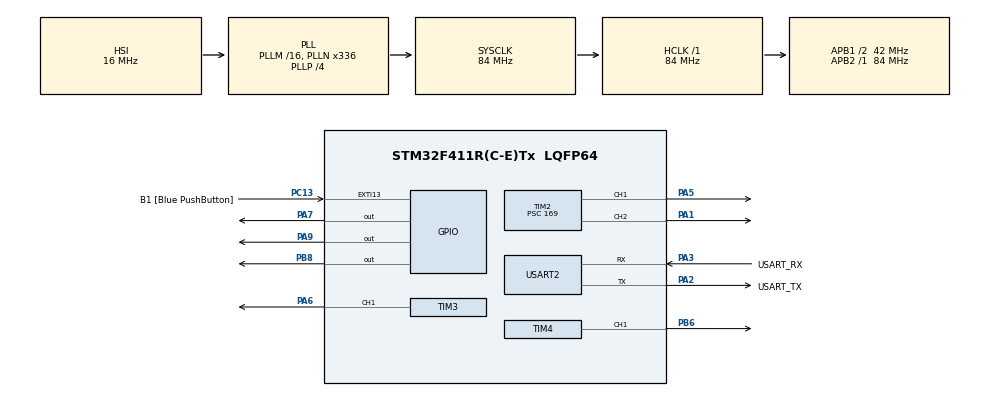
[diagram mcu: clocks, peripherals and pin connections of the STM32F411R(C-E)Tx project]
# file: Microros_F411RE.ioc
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Dma.Request0=USART2_RX
Dma.Request1=USART2_TX
Dma.USART2_RX.0.Direction=DMA_PERIPH_TO_MEMORY
Dma.USART2_RX.0.FIFOMode=DMA_FIFOMODE_DISABLE
Dma.USART2_RX.0.Instance=DMA1_Stream5
Dma.USART2_RX.0.MemDataAlignment=DMA_MDATAALIGN_BYTE
Dma.USART2_RX.0.MemInc=DMA_MINC_ENABLE
Dma.USART2_RX.0.Mode=DMA_CIRCULAR
Dma.USART2_RX.0.PeriphDataAlignment=DMA_PDATAALIGN_BYTE
Dma.USART2_RX.0.PeriphInc=DMA_PINC_DISABLE
Dma.USART2_RX.0.Priority=DMA_PRIORITY_VERY_HIGH
Dma.USART2_TX.1.Direction=DMA_MEMORY_TO_PERIPH
Dma.USART2_TX.1.FIFOMode=DMA_FIFOMODE_DISABLE
Dma.USART2_TX.1.Instance=DMA1_Stream6
Dma.USART2_TX.1.MemDataAlignment=DMA_MDATAALIGN_BYTE
Dma.USART2_TX.1.MemInc=DMA_MINC_ENABLE
Dma.USART2_TX.1.Mode=DMA_NORMAL
Dma.USART2_TX.1.PeriphDataAlignment=DMA_PDATAALIGN_BYTE
Dma.USART2_TX.1.PeriphInc=DMA_PINC_DISABLE
Dma.USART2_TX.1.Priority=DMA_PRIORITY_VERY_HIGH
FREERTOS.Tasks01=defaultTask,24,3000,StartDefaultTask,Default,NULL,Dynamic,NULL,NULL
Mcu.Family=STM32F4
Mcu.Name=STM32F411R(C-E)Tx
Mcu.Package=LQFP64
NVIC.DMA1_Stream5_IRQn=true\:5\:0\:false\:false\:true\:true\:false\:true\:true
NVIC.DMA1_Stream6_IRQn=true\:5\:0\:false\:false\:true\:true\:false\:true\:true
NVIC.PriorityGroup=NVIC_PRIORITYGROUP_4
NVIC.TIM1_UP_TIM10_IRQn=true\:0\:0\:false\:false\:true\:false\:false\:true\:true
NVIC.TimeBase=TIM1_UP_TIM10_IRQn
NVIC.TimeBaseIP=TIM1
NVIC.USART2_IRQn=true\:5\:0\:false\:false\:true\:true\:true\:true\:true
PA1.Signal=S_TIM2_CH2
PA13.GPIO_Label=TMS
PA13.Mode=Serial_Wire
PA13.Signal=SYS_JTMS-SWDIO
PA14.GPIO_Label=TCK
PA14.Mode=Serial_Wire
PA14.Signal=SYS_JTCK-SWCLK
PA2.GPIO_Label=USART_TX
PA2.Mode=Asynchronous
PA2.Signal=USART2_TX
PA3.GPIO_Label=USART_RX
PA3.Mode=Asynchronous
PA3.Signal=USART2_RX
PA5.Signal=S_TIM2_CH1_ETR
PA6.Signal=S_TIM3_CH1
PA7.Signal=GPIO_Output
PA9.Signal=GPIO_Output
PB3.GPIO_Label=SWO
PB3.Signal=SYS_JTDO-SWO
PB6.Signal=S_TIM4_CH1
PB8.Signal=GPIO_Output
PC13-ANTI_TAMP.GPIO_Label=B1 [Blue PushButton]
PC13-ANTI_TAMP.GPIO_ModeDefaultEXTI=GPIO_MODE_IT_FALLING
PC13-ANTI_TAMP.Signal=GPXTI13
PC14-OSC32_IN.Mode=LSE-External-Oscillator
PC14-OSC32_IN.Signal=RCC_OSC32_IN
PC15-OSC32_OUT.Mode=LSE-External-Oscillator
PC15-OSC32_OUT.Signal=RCC_OSC32_OUT
PH0\ -\ OSC_IN.Mode=HSE-External-Oscillator
PH0\ -\ OSC_IN.Signal=RCC_OSC_IN
PH1\ -\ OSC_OUT.Mode=HSE-External-Oscillator
PH1\ -\ OSC_OUT.Signal=RCC_OSC_OUT
ProjectManager.HeapSize=0x200
ProjectManager.StackSize=0x400
ProjectManager.TargetToolchain=STM32CubeIDE
RCC.48MHZClocksFreq_Value=84000000
RCC.AHBFreq_Value=84000000
RCC.APB1CLKDivider=RCC_HCLK_DIV2
RCC.APB1Freq_Value=42000000
RCC.APB1TimFreq_Value=84000000
RCC.APB2Freq_Value=84000000
RCC.APB2TimFreq_Value=84000000
RCC.CortexFreq_Value=84000000
RCC.FLatency-AdvancedSettings=FLASH_LATENCY_2
RCC.HCLKFreq_Value=84000000
RCC.HSE_VALUE=8000000
RCC.HSI_VALUE=16000000
RCC.PLLN=336
RCC.PLLP=RCC_PLLP_DIV4
RCC.SYSCLKFreq_VALUE=84000000
RCC.SYSCLKSource=RCC_SYSCLKSOURCE_PLLCLK
RCC.VCOOutputFreq_Value=336000000
SH.S_TIM2_CH1_ETR.0=TIM2_CH1,PWM Generation1 CH1
SH.S_TIM2_CH2.0=TIM2_CH2,PWM Generation2 CH2
SH.S_TIM3_CH1.0=TIM3_CH1,PWM Generation1 CH1
SH.S_TIM4_CH1.0=TIM4_CH1,PWM Generation1 CH1
TIM2.Channel-PWM\ Generation1\ CH1=TIM_CHANNEL_1
TIM2.Channel-PWM\ Generation2\ CH2=TIM_CHANNEL_2
TIM2.Period=999
TIM2.Prescaler=169
TIM2.Pulse-PWM\ Generation1\ CH1=0
TIM3.Channel-PWM\ Generation1\ CH1=TIM_CHANNEL_1
TIM3.Period=999
TIM3.Prescaler=169
TIM4.Channel-PWM\ Generation1\ CH1=TIM_CHANNEL_1
TIM4.Period=19999
TIM4.Prescaler=169
USART2.VirtualMode=VM_ASYNC
VP_FREERTOS_VS_CMSIS_V2.Mode=CMSIS_V2
VP_SYS_VS_tim1.Mode=TIM1
VP_TIM2_VS_ClockSourceINT.Mode=Internal
VP_TIM3_VS_ClockSourceINT.Mode=Internal
VP_TIM4_VS_ClockSourceINT.Mode=Internal
board=NUCLEO-F411RE

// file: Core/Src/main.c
/* USER CODE BEGIN Header */
/**
  ******************************************************************************
  * @file           : main.c
  * @brief          : Main program body
  ******************************************************************************
  * @attention
  *
  * Copyright (c) 2024 STMicroelectronics.
  * All rights reserved.
  *
  * This software is licensed under terms that can be found in the LICENSE file
  * in the root directory of this software component.
  * If no LICENSE file comes with this software, it is provided AS-IS.
  *
  ******************************************************************************
  */
/* USER CODE END Header */
#include "main.h"
#include "cmsis_os.h"

/* USER CODE BEGIN Includes */
#include <rcl/rcl.h>
#include <rcl/error_handling.h>
#include <rclc/rclc.h>
#include <rclc/executor.h>
#include <uxr/client/transport.h>
#include <rmw_microxrcedds_c/config.h>
#include <rmw_microros/rmw_microros.h>
#include "PWM.h"
#include <std_msgs/msg/int32.h>
#include <std_msgs/msg/float32.h>
#include <stdlib.h>
/* USER CODE END Includes */

TIM_HandleTypeDef htim2;
TIM_HandleTypeDef htim3;
TIM_HandleTypeDef htim4;

UART_HandleTypeDef huart2;
DMA_HandleTypeDef hdma_usart2_rx;
DMA_HandleTypeDef hdma_usart2_tx;

/* Definitions for defaultTask */
osThreadId_t defaultTaskHandle;
const osThreadAttr_t defaultTask_attributes = {
  .name = "defaultTask",
  .stack_size = 3000 * 4,
  .priority = (osPriority_t) osPriorityNormal,
};
/* USER CODE BEGIN PV */
uint16_t FB_Read, LR_Read, BR_Read;
float Speed_L, Speed_R, prev_Speed_L, prev_Speed_R;
int Brush;
int Servo_switch = 600;
int MaxSpeed = 1000;
static float_t i2 = 0.0;
static float_t i3 = 0.0;
uint16_t freq;

PWM StepperL;
PWM StepperR;
PWM BrushMTR;
/* USER CODE END PV */

void SystemClock_Config(void);
static void MX_GPIO_Init(void);
static void MX_DMA_Init(void);
static void MX_USART2_UART_Init(void);
static void MX_TIM2_Init(void);
static void MX_TIM3_Init(void);
static void MX_TIM4_Init(void);
void StartDefaultTask(void *argument);

/* USER CODE BEGIN PFP */
void StpperMotorControlled();
void BrusheMotorControlled();
void ServoControlled();

int mapValue(uint16_t inputValue, int16_t Min, int16_t Max);
void subscription_callback_L(const void * msgin);
void subscription_callback_R(const void * msgin);
void subscription_callback_servo(const void * msgin);
void subscription_callback_Brush(const void * msgin);

/* USER CODE END PFP */

int main(void)
{

  /* MCU Configuration--------------------------------------------------------*/

  /* Reset of all peripherals, Initializes the Flash interface and the Systick. */
  HAL_Init();

  /* Configure the system clock */
  SystemClock_Config();

  /* Initialize all configured peripherals */
  MX_GPIO_Init();
  MX_DMA_Init();
  MX_USART2_UART_Init();
  MX_TIM2_Init();
  MX_TIM3_Init();
  MX_TIM4_Init();
  /* USER CODE BEGIN 2 */
  PWM_init(&StepperL, &htim2, TIM_CHANNEL_1);
  PWM_init(&StepperR, &htim2, TIM_CHANNEL_2);
  PWM_init(&BrushMTR, &htim3, TIM_CHANNEL_1);

  HAL_TIM_PWM_Start(&htim2, TIM_CHANNEL_1);
  HAL_TIM_PWM_Start(&htim2, TIM_CHANNEL_2);
  HAL_TIM_PWM_Start(&htim3, TIM_CHANNEL_1);
  HAL_TIM_Base_Start(&htim4);
  HAL_TIM_PWM_Start(&htim4, TIM_CHANNEL_1);
  /* USER CODE END 2 */

  /* Init scheduler */
  osKernelInitialize();

  /* Create the thread(s) */
  /* creation of defaultTask */
  defaultTaskHandle = osThreadNew(StartDefaultTask, NULL, &defaultTask_attributes);

  /* Start scheduler */
  osKernelStart();

  /* We should never get here as control is now taken by the scheduler */

  /* Infinite loop */
  while (1)
  {

  }
}

void SystemClock_Config(void)
{
  RCC_OscInitTypeDef RCC_OscInitStruct = {0};
  RCC_ClkInitTypeDef RCC_ClkInitStruct = {0};

  /** Configure the main internal regulator output voltage
  */
  __HAL_RCC_PWR_CLK_ENABLE();
  __HAL_PWR_VOLTAGESCALING_CONFIG(PWR_REGULATOR_VOLTAGE_SCALE1);

  /** Initializes the RCC Oscillators according to the specified parameters
  * in the RCC_OscInitTypeDef structure.
  */
  RCC_OscInitStruct.OscillatorType = RCC_OSCILLATORTYPE_HSI;
  RCC_OscInitStruct.HSIState = RCC_HSI_ON;
  RCC_OscInitStruct.HSICalibrationValue = RCC_HSICALIBRATION_DEFAULT;
  RCC_OscInitStruct.PLL.PLLState = RCC_PLL_ON;
  RCC_OscInitStruct.PLL.PLLSource = RCC_PLLSOURCE_HSI;
  RCC_OscInitStruct.PLL.PLLM = 16;
  RCC_OscInitStruct.PLL.PLLN = 336;
  RCC_OscInitStruct.PLL.PLLP = RCC_PLLP_DIV4;
  RCC_OscInitStruct.PLL.PLLQ = 4;
  if (HAL_RCC_OscConfig(&RCC_OscInitStruct) != HAL_OK)
  {
    Error_Handler();
  }

  /** Initializes the CPU, AHB and APB buses clocks
  */
  RCC_ClkInitStruct.ClockType = RCC_CLOCKTYPE_HCLK|RCC_CLOCKTYPE_SYSCLK
                              |RCC_CLOCKTYPE_PCLK1|RCC_CLOCKTYPE_PCLK2;
  RCC_ClkInitStruct.SYSCLKSource = RCC_SYSCLKSOURCE_PLLCLK;
  RCC_ClkInitStruct.AHBCLKDivider = RCC_SYSCLK_DIV1;
  RCC_ClkInitStruct.APB1CLKDivider = RCC_HCLK_DIV2;
  RCC_ClkInitStruct.APB2CLKDivider = RCC_HCLK_DIV1;

  if (HAL_RCC_ClockConfig(&RCC_ClkInitStruct, FLASH_LATENCY_2) != HAL_OK)
  {
    Error_Handler();
  }
}

static void MX_TIM2_Init(void)
{

  TIM_ClockConfigTypeDef sClockSourceConfig = {0};
  TIM_MasterConfigTypeDef sMasterConfig = {0};
  TIM_OC_InitTypeDef sConfigOC = {0};

  htim2.Instance = TIM2;
  htim2.Init.Prescaler = 169;
  htim2.Init.CounterMode = TIM_COUNTERMODE_UP;
  htim2.Init.Period = 999;
  htim2.Init.ClockDivision = TIM_CLOCKDIVISION_DIV1;
  htim2.Init.AutoReloadPreload = TIM_AUTORELOAD_PRELOAD_DISABLE;
  if (HAL_TIM_Base_Init(&htim2) != HAL_OK)
  {
    Error_Handler();
  }
  sClockSourceConfig.ClockSource = TIM_CLOCKSOURCE_INTERNAL;
  if (HAL_TIM_ConfigClockSource(&htim2, &sClockSourceConfig) != HAL_OK)
  {
    Error_Handler();
  }
  if (HAL_TIM_PWM_Init(&htim2) != HAL_OK)
  {
    Error_Handler();
  }
  sMasterConfig.MasterOutputTrigger = TIM_TRGO_RESET;
  sMasterConfig.MasterSlaveMode = TIM_MASTERSLAVEMODE_DISABLE;
  if (HAL_TIMEx_MasterConfigSynchronization(&htim2, &sMasterConfig) != HAL_OK)
  {
    Error_Handler();
  }
  sConfigOC.OCMode = TIM_OCMODE_PWM1;
  sConfigOC.Pulse = 0;
  sConfigOC.OCPolarity = TIM_OCPOLARITY_HIGH;
  sConfigOC.OCFastMode = TIM_OCFAST_DISABLE;
  if (HAL_TIM_PWM_ConfigChannel(&htim2, &sConfigOC, TIM_CHANNEL_1) != HAL_OK)
  {
    Error_Handler();
  }
  if (HAL_TIM_PWM_ConfigChannel(&htim2, &sConfigOC, TIM_CHANNEL_2) != HAL_OK)
  {
    Error_Handler();
  }
  HAL_TIM_MspPostInit(&htim2);

}

static void MX_TIM3_Init(void)
{

  TIM_ClockConfigTypeDef sClockSourceConfig = {0};
  TIM_MasterConfigTypeDef sMasterConfig = {0};
  TIM_OC_InitTypeDef sConfigOC = {0};

  htim3.Instance = TIM3;
  htim3.Init.Prescaler = 169;
  htim3.Init.CounterMode = TIM_COUNTERMODE_UP;
  htim3.Init.Period = 999;
  htim3.Init.ClockDivision = TIM_CLOCKDIVISION_DIV1;
  htim3.Init.AutoReloadPreload = TIM_AUTORELOAD_PRELOAD_DISABLE;
  if (HAL_TIM_Base_Init(&htim3) != HAL_OK)
  {
    Error_Handler();
  }
  sClockSourceConfig.ClockSource = TIM_CLOCKSOURCE_INTERNAL;
  if (HAL_TIM_ConfigClockSource(&htim3, &sClockSourceConfig) != HAL_OK)
  {
    Error_Handler();
  }
  if (HAL_TIM_PWM_Init(&htim3) != HAL_OK)
  {
    Error_Handler();
  }
  sMasterConfig.MasterOutputTrigger = TIM_TRGO_RESET;
  sMasterConfig.MasterSlaveMode = TIM_MASTERSLAVEMODE_DISABLE;
  if (HAL_TIMEx_MasterConfigSynchronization(&htim3, &sMasterConfig) != HAL_OK)
  {
    Error_Handler();
  }
  sConfigOC.OCMode = TIM_OCMODE_PWM1;
  sConfigOC.Pulse = 0;
  sConfigOC.OCPolarity = TIM_OCPOLARITY_HIGH;
  sConfigOC.OCFastMode = TIM_OCFAST_DISABLE;
  if (HAL_TIM_PWM_ConfigChannel(&htim3, &sConfigOC, TIM_CHANNEL_1) != HAL_OK)
  {
    Error_Handler();
  }
  HAL_TIM_MspPostInit(&htim3);

}

static void MX_TIM4_Init(void)
{

  TIM_ClockConfigTypeDef sClockSourceConfig = {0};
  TIM_MasterConfigTypeDef sMasterConfig = {0};
  TIM_OC_InitTypeDef sConfigOC = {0};

  htim4.Instance = TIM4;
  htim4.Init.Prescaler = 169;
  htim4.Init.CounterMode = TIM_COUNTERMODE_UP;
  htim4.Init.Period = 19999;
  htim4.Init.ClockDivision = TIM_CLOCKDIVISION_DIV1;
  htim4.Init.AutoReloadPreload = TIM_AUTORELOAD_PRELOAD_DISABLE;
  if (HAL_TIM_Base_Init(&htim4) != HAL_OK)
  {
    Error_Handler();
  }
  sClockSourceConfig.ClockSource = TIM_CLOCKSOURCE_INTERNAL;
  if (HAL_TIM_ConfigClockSource(&htim4, &sClockSourceConfig) != HAL_OK)
  {
    Error_Handler();
  }
  if (HAL_TIM_PWM_Init(&htim4) != HAL_OK)
  {
    Error_Handler();
  }
  sMasterConfig.MasterOutputTrigger = TIM_TRGO_RESET;
  sMasterConfig.MasterSlaveMode = TIM_MASTERSLAVEMODE_DISABLE;
  if (HAL_TIMEx_MasterConfigSynchronization(&htim4, &sMasterConfig) != HAL_OK)
  {
    Error_Handler();
  }
  sConfigOC.OCMode = TIM_OCMODE_PWM1;
  sConfigOC.Pulse = 0;
  sConfigOC.OCPolarity = TIM_OCPOLARITY_HIGH;
  sConfigOC.OCFastMode = TIM_OCFAST_DISABLE;
  if (HAL_TIM_PWM_ConfigChannel(&htim4, &sConfigOC, TIM_CHANNEL_1) != HAL_OK)
  {
    Error_Handler();
  }
  HAL_TIM_MspPostInit(&htim4);

}

static void MX_USART2_UART_Init(void)
{

  huart2.Instance = USART2;
  huart2.Init.BaudRate = 115200;
  huart2.Init.WordLength = UART_WORDLENGTH_8B;
  huart2.Init.StopBits = UART_STOPBITS_1;
  huart2.Init.Parity = UART_PARITY_NONE;
  huart2.Init.Mode = UART_MODE_TX_RX;
  huart2.Init.HwFlowCtl = UART_HWCONTROL_NONE;
  huart2.Init.OverSampling = UART_OVERSAMPLING_16;
  if (HAL_UART_Init(&huart2) != HAL_OK)
  {
    Error_Handler();
  }

}

static void MX_DMA_Init(void)
{

  /* DMA controller clock enable */
  __HAL_RCC_DMA1_CLK_ENABLE();

  /* DMA interrupt init */
  /* DMA1_Stream5_IRQn interrupt configuration */
  HAL_NVIC_SetPriority(DMA1_Stream5_IRQn, 5, 0);
  HAL_NVIC_EnableIRQ(DMA1_Stream5_IRQn);
  /* DMA1_Stream6_IRQn interrupt configuration */
  HAL_NVIC_SetPriority(DMA1_Stream6_IRQn, 5, 0);
  HAL_NVIC_EnableIRQ(DMA1_Stream6_IRQn);

}

static void MX_GPIO_Init(void)
{
  GPIO_InitTypeDef GPIO_InitStruct = {0};

  /* GPIO Ports Clock Enable */
  __HAL_RCC_GPIOC_CLK_ENABLE();
  __HAL_RCC_GPIOH_CLK_ENABLE();
  __HAL_RCC_GPIOA_CLK_ENABLE();
  __HAL_RCC_GPIOB_CLK_ENABLE();

  /*Configure GPIO pin Output Level */
  HAL_GPIO_WritePin(GPIOA, GPIO_PIN_7|GPIO_PIN_9, GPIO_PIN_RESET);

  /*Configure GPIO pin Output Level */
  HAL_GPIO_WritePin(GPIOB, GPIO_PIN_8, GPIO_PIN_RESET);

  /*Configure GPIO pin : B1_Pin */
  GPIO_InitStruct.Pin = B1_Pin;
  GPIO_InitStruct.Mode = GPIO_MODE_IT_FALLING;
  GPIO_InitStruct.Pull = GPIO_NOPULL;
  HAL_GPIO_Init(B1_GPIO_Port, &GPIO_InitStruct);

  /*Configure GPIO pins : PA7 PA9 */
  GPIO_InitStruct.Pin = GPIO_PIN_7|GPIO_PIN_9;
  GPIO_InitStruct.Mode = GPIO_MODE_OUTPUT_PP;
  GPIO_InitStruct.Pull = GPIO_NOPULL;
  GPIO_InitStruct.Speed = GPIO_SPEED_FREQ_LOW;
  HAL_GPIO_Init(GPIOA, &GPIO_InitStruct);

  /*Configure GPIO pin : PB8 */
  GPIO_InitStruct.Pin = GPIO_PIN_8;
  GPIO_InitStruct.Mode = GPIO_MODE_OUTPUT_PP;
  GPIO_InitStruct.Pull = GPIO_NOPULL;
  GPIO_InitStruct.Speed = GPIO_SPEED_FREQ_LOW;
  HAL_GPIO_Init(GPIOB, &GPIO_InitStruct);

}

/* USER CODE BEGIN 4 */
bool cubemx_transport_open(struct uxrCustomTransport * transport);
bool cubemx_transport_close(struct uxrCustomTransport * transport);
size_t cubemx_transport_write(struct uxrCustomTransport* transport, const uint8_t * buf, size_t len, uint8_t * err);
size_t cubemx_transport_read(struct uxrCustomTransport* transport, uint8_t* buf, size_t len, int timeout, uint8_t* err);

void * microros_allocate(size_t size, void * state);
void microros_deallocate(void * pointer, void * state);
void * microros_reallocate(void * pointer, size_t size, void * state);
void * microros_zero_allocate(size_t number_of_elements, size_t size_of_element, void * state);

int mapValue(uint16_t inputValue, int16_t Min, int16_t Max)
{
    // Map from 1000-2010 to Min-Max
    return (int16_t)(((int32_t)(inputValue - 1000) * (Max - Min)) / 1010 + Min);
}

void StpperMotorControlled()
{
//	if (Speed_L < -170){
//		HAL_GPIO_WritePin(GPIOA, GPIO_PIN_7, SET);
//		PWM_write_duty(&StepperL, fabs(Speed_L), 50);
//	}
//	else if (Speed_L > 170){
//		HAL_GPIO_WritePin(GPIOA, GPIO_PIN_7, RESET);
//		PWM_write_duty(&StepperL, fabs(Speed_L), 50);
//	}
//	else{
//		PWM_write_duty(&StepperL, 0, 50);
//	}
//
//	if (Speed_R < -170){
//		HAL_GPIO_WritePin(GPIOA, GPIO_PIN_9, RESET);
//		PWM_write_duty(&StepperR, fabs(Speed_R), 50);
//	}
//	else if (Speed_R > 170){
//		HAL_GPIO_WritePin(GPIOA, GPIO_PIN_9, SET);
//		PWM_write_duty(&StepperR, fabs(Speed_R), 50);
//	}
//	else{
//		PWM_write_duty(&StepperR, 0, 50);
//	}
	//############################# speed ramp
//	if (Speed_L >= 170){
//		if (Speed_L != prev_Speed_L){
//
////			for(float i = 0 ; i < fabs(Speed_L); i+= 0.35){
//			if (i2 <= Speed_L){
//				HAL_GPIO_WritePin(GPIOA, GPIO_PIN_7, SET);
//				PWM_write_duty(&StepperL, i2, 50);
//				HAL_GPIO_WritePin(GPIOA, GPIO_PIN_9, RESET);
//				PWM_write_duty(&StepperR, i2, 50);
//				i2 += 50.0;
//	//			}
//			}
//			else {
//				i2 = 0;
//				prev_Speed_L = Speed_L;
//			}
//		}
//		else{
//			HAL_GPIO_WritePin(GPIOA, GPIO_PIN_7, SET);
//			PWM_write_duty(&StepperL, fabs(Speed_L), 50);
//			HAL_GPIO_WritePin(GPIOA, GPIO_PIN_9, RESET);
//			PWM_write_duty(&StepperR, fabs(Speed_L), 50);
//		}
//	}
//	else if (Speed_L <= -170){
//		if (Speed_L != prev_Speed_L){
////			for(float i = 0 ; i < fabs(Speed_L); i+= 0.35){
//			if (i2 <= Speed_L*-1){
//				HAL_GPIO_WritePin(GPIOA, GPIO_PIN_7, RESET);
//				PWM_write_duty(&StepperL, i2, 50);
//				HAL_GPIO_WritePin(GPIOA, GPIO_PIN_9, SET);
//				PWM_write_duty(&StepperR, i2, 50);
//				i2 += 50.0;
//	//			}
//			}
//			else {
//				i2 = 0;
//				prev_Speed_L = Speed_L;
//			}
//		}
//		else{
//			HAL_GPIO_WritePin(GPIOA, GPIO_PIN_7, RESET);
//			PWM_write_duty(&StepperL, fabs(Speed_L), 50);
//			HAL_GPIO_WritePin(GPIOA, GPIO_PIN_9, SET);
//			PWM_write_duty(&StepperR, fabs(Speed_L), 50);
//		}
//
//	}
//	else if (Speed_L == 0){
//		if(Speed_L != prev_Speed_L){
//			if (prev_Speed_L > 0) {
//				if (i2 <= fabs(prev_Speed_L)){
//					HAL_GPIO_WritePin(GPIOA, GPIO_PIN_7, SET);
//					PWM_write_duty(&StepperL, fabs(prev_Speed_L)-i2, 50);
//					HAL_GPIO_WritePin(GPIOA, GPIO_PIN_9, RESET);
//					PWM_write_duty(&StepperR, fabs(prev_Speed_L)-i2, 50);
//					i2 += 50.0;
//				}
//				else {
//					i2 = 0;
//					prev_Speed_L = Speed_L;
//				}
//			}
//			else{
//				if (i2 <= fabs(prev_Speed_L)){
//					HAL_GPIO_WritePin(GPIOA, GPIO_PIN_7, RESET);
//					PWM_write_duty(&StepperL, fabs(prev_Speed_L)-i2, 50);
//					HAL_GPIO_WritePin(GPIOA, GPIO_PIN_9, SET);
//					PWM_write_duty(&StepperR, fabs(prev_Speed_L)-i2, 50);
//					i2 += 50.0;
//				}
//				else {
//					i2 = 0;
//					prev_Speed_L = Speed_L;
//				}
//			}
//		}
//		else{
//			PWM_write_duty(&StepperL, 0, 50);
//			PWM_write_duty(&StepperR, 0, 50);
//		}
//	}
	//############################# speed ramp
// ######################################Ramp each wheel############################################

	if (fabs(Speed_L) < 170.0)
		Speed_L = 0;
	if (fabs(Speed_R) < 170.0)
		Speed_R = 0;
	if (Speed_L-prev_Speed_L > 0){
		if (i2 <= Speed_L){
			if (i2 > 0)
			{
				HAL_GPIO_WritePin(GPIOA, GPIO_PIN_9, SET);
			}
			else
			{
				HAL_GPIO_WritePin(GPIOA, GPIO_PIN_9, RESET);
			}
			PWM_write_duty(&StepperL, fabs(i2), 50);
			i2 += 50.0;
		}
		else {
			prev_Speed_L = Speed_L;
			i2 = prev_Speed_L;
		}
	}
	else if (Speed_L-prev_Speed_L < 0){
		if (i2 >= Speed_L){
			if (i2 > 0)
			{
				HAL_GPIO_WritePin(GPIOA, GPIO_PIN_9, SET);
			}

			else{
				HAL_GPIO_WritePin(GPIOA, GPIO_PIN_9, RESET);
			}
			PWM_write_duty(&StepperL, fabs(i2), 50);
			i2 -= 50.0;
		}
		else {
			prev_Speed_L = Speed_L;
			i2 = prev_Speed_L;
		}
	}
//	else
//	{
//		if (Speed_L > 0)
//		{
//			HAL_GPIO_WritePin(GPIOA, GPIO_PIN_7, SET);
//		}
//		else
//		{
//			HAL_GPIO_WritePin(GPIOA, GPIO_PIN_7, RESET);
//		}
//		PWM_write_duty(&StepperL, fabs(Speed_L), 50);
//	}

///////////////////////// R ////////////////////////

	if (Speed_R-prev_Speed_R > 0){
		if (i3 <= Speed_R){
			if (i3 > 0)
			{
				HAL_GPIO_WritePin(GPIOA, GPIO_PIN_7, RESET);
			}
			else
			{
				HAL_GPIO_WritePin(GPIOA, GPIO_PIN_7, SET);
			}
			PWM_write_duty(&StepperR, fabs(i3), 50);
			i3 += 50.0;
		}
		else {
			prev_Speed_R = Speed_R;
			i3 = prev_Speed_R;
		}
	}
	else if (Speed_R-prev_Speed_R < 0){
		if (i3 >= Speed_R){
			if (i3 > 0)
			{
				HAL_GPIO_WritePin(GPIOA, GPIO_PIN_7, RESET);
			}
			else
			{
				HAL_GPIO_WritePin(GPIOA, GPIO_PIN_7, SET);
			}
			PWM_write_duty(&StepperR, fabs(i3), 50);
			i3 -= 50.0;
		}
		else {
			prev_Speed_R = Speed_R;
			i3 = prev_Speed_R;
		}
	}

//	else
//	{
//		if (Speed_R > 0)
//			HAL_GPIO_WritePin(GPIOA, GPIO_PIN_9, RESET);
//		else
//			HAL_GPIO_WritePin(GPIOA, GPIO_PIN_9, SET);
//		PWM_write_duty(&StepperR, fabs(Speed_R), 50);
//	}
////////////////////////////////////

// ######################################Ramp each wheel############################################
//	if (Speed_L < 0){
//		HAL_GPIO_WritePin(GPIOA, GPIO_PIN_7, SET);
//		PWM_write_duty(&StepperL, fabs(Speed_L), 50);
//		HAL_GPIO_WritePin(GPIOA, GPIO_PIN_9, RESET);
//		PWM_write_duty(&StepperR, fabs(Speed_L), 50);
//	}
//	else{
//		PWM_write_duty(&StepperL, 0, 50);
//		PWM_write_duty(&StepperR, 0, 50);
//	}
//	if (Speed < -20)
//	{
//		freq = 1;
//		HAL_GPIO_WritePin(GPIOA, GPIO_PIN_9, RESET);
//		HAL_GPIO_WritePin(GPIOA, GPIO_PIN_7, SET);
//		if (fabs(Speed) > 170)
//		{
//			PWM_write_duty(&StepperL, fabs(Speed), 50);
//			PWM_write_duty(&StepperR, fabs(Speed), 50);
//		}
//		else
//		{
//			PWM_write_duty(&StepperL, 0, 50);
//			PWM_write_duty(&StepperR, 0, 50);
//		}
//	}
//	else if (Speed > 20)
//	{
//		freq = 2;
//		HAL_GPIO_WritePin(GPIOA, GPIO_PIN_9, SET);
//		HAL_GPIO_WritePin(GPIOA, GPIO_PIN_7, RESET);
//		if (fabs(Speed) > 170)
//		{
//			PWM_write_duty(&StepperL, fabs(Speed), 50);
//			PWM_write_duty(&StepperR, fabs(Speed), 50);
//		}
//		else
//		{
//			PWM_write_duty(&StepperL, 0, 50);
//			PWM_write_duty(&StepperR, 0, 50);
//		}
//	}
//	else
//	{
//		freq = 0;
//		if (Turn <= 0)
//		{
//			HAL_GPIO_WritePin(GPIOA, GPIO_PIN_9, RESET);
//			HAL_GPIO_WritePin(GPIOA, GPIO_PIN_7, RESET);
//			if (fabs(Turn) > 170)
//			{
//				PWM_write_duty(&StepperL, fabs(Turn), 50);
//				PWM_write_duty(&StepperR, fabs(Turn), 50);
//			}
//			else
//			{
//				PWM_write_duty(&StepperL, 0, 50);
//				PWM_write_duty(&StepperR, 0, 50);
//			}
//		}
//		else if (Turn > 0)
//		{
//			HAL_GPIO_WritePin(GPIOA, GPIO_PIN_9, SET);
//			HAL_GPIO_WritePin(GPIOA, GPIO_PIN_7, SET);
//			if (fabs(Turn) > 170)
//			{
//				PWM_write_duty(&StepperL, fabs(Turn), 50);
//				PWM_write_duty(&StepperR, fabs(Turn), 50);
//			}
//			else
//			{
//				PWM_write_duty(&StepperL, 0, 50);
//				PWM_write_duty(&StepperR, 0, 50);
//			}
//		}
//	}
}
void BrusheMotorControlled()
{
	if (Brush)
	{
		HAL_GPIO_WritePin(GPIOB, GPIO_PIN_8, RESET);
		PWM_write_duty(&BrushMTR, 2000, 100);
	}
	else
	{
		PWM_write_duty(&BrushMTR, 2000, 0);
	}
}
void ServoControlled()
{
	__HAL_TIM_SET_COMPARE(&htim4, TIM_CHANNEL_1, Servo_switch);
//	if (Servo_switch)
//	{
////		for(int i = 0;i <= 2500;i++)
////		{
////			__HAL_TIM_SET_COMPARE(&htim4, TIM_CHANNEL_1, i);
////		}
//
//		__HAL_TIM_SET_COMPARE(&htim4, TIM_CHANNEL_1, 5250);
//	}
//	else
//	{
//		__HAL_TIM_SET_COMPARE(&htim4, TIM_CHANNEL_1, 600);
//	}
}
void subscription_callback_L(const void * msgin)
{
    const std_msgs__msg__Float32 * msg = (const std_msgs__msg__Float32 *)msgin;

//    Speed = msg->data;
    Speed_L = msg->data;
}

void subscription_callback_R(const void * msgin)
{
    const std_msgs__msg__Float32 * msg = (const std_msgs__msg__Float32 *)msgin;
    Speed_R = msg->data;  // Update Turn (or handle the message however you need)
}

void subscription_callback_servo(const void * msgin)
{
	const std_msgs__msg__Int32 * msg = (const std_msgs__msg__Int32 *)msgin;
	Servo_switch = msg->data;

}

void subscription_callback_Brush(const void * msgin)
{
	const std_msgs__msg__Int32 * msg = (const std_msgs__msg__Int32 *)msgin;
	Brush = msg->data;

}
/* USER CODE END 4 */

void StartDefaultTask(void *argument)
{
  /* USER CODE BEGIN 5 */
//
//  // micro-ROS configuration
//
//  rmw_uros_set_custom_transport(
//    true,
//    (void *) &huart2,
//    cubemx_transport_open,
//    cubemx_transport_close,
//    cubemx_transport_write,
//    cubemx_transport_read);
//
//  rcl_allocator_t freeRTOS_allocator = rcutils_get_zero_initialized_allocator();
//  freeRTOS_allocator.allocate = microros_allocate;
//  freeRTOS_allocator.deallocate = microros_deallocate;
//  freeRTOS_allocator.reallocate = microros_reallocate;
//  freeRTOS_allocator.zero_allocate =  microros_zero_allocate;
//
//  if (!rcutils_set_default_allocator(&freeRTOS_allocator)) {
//      printf("Error on default allocators (line %d)\n", __LINE__);
//  }
//
//  // micro-ROS app
//
//  rcl_publisher_t publisher;
//  std_msgs__msg__Int32 msg;
//  rclc_support_t support;
//  rcl_allocator_t allocator;
//  rcl_node_t node;
//  rclc_executor_t executor;
//
//  allocator = rcl_get_default_allocator();
//
//  //create init_options
//  rclc_support_init(&support, 0, NULL, &allocator);
//
//  // create node
//  rclc_node_init_default(&node, "cubemx_node", "", &support);
//
//  // create publisher
//  rclc_publisher_init_default(
//    &publisher,
//    &node,
//    ROSIDL_GET_MSG_TYPE_SUPPORT(std_msgs, msg, Int32),
//    "cubemx_publisher");
//
//  rclc_executor_init(&executor, &support.context, 1, &allocator);
//
//  msg.data = 0;
//
//  for(;;)
//  {
//    rcl_ret_t ret = rcl_publish(&publisher, &msg, NULL);
//    if (ret != RCL_RET_OK)
//    {
//      printf("Error publishing (line %d)\n", __LINE__);
//    }
//
//    msg.data++;
//    osDelay(10);
//    rclc_executor_spin_some(&executor, RCL_MS_TO_NS(100));
//  }
//
	 setenv("ROS_DOMAIN_ID", "1", 1);

	 rmw_uros_set_custom_transport(
	    true,
	    (void *) &huart2,
	    cubemx_transport_open,
	    cubemx_transport_close,
	    cubemx_transport_write,
	    cubemx_transport_read);

	  rcl_allocator_t freeRTOS_allocator = rcutils_get_zero_initialized_allocator();
	  freeRTOS_allocator.allocate = microros_allocate;
	  freeRTOS_allocator.deallocate = microros_deallocate;
	  freeRTOS_allocator.reallocate = microros_reallocate;
	  freeRTOS_allocator.zero_allocate = microros_zero_allocate;

	  if (!rcutils_set_default_allocator(&freeRTOS_allocator)) {
	      printf("Error on default allocators (line %d)\n", __LINE__);
	  }

	  // micro-ROS app
	  rcl_subscription_t subscriber_L;
	  std_msgs__msg__Float32 msg_L;

	  rcl_subscription_t subscriber_R;
	  std_msgs__msg__Float32 msg_R;

	  rcl_subscription_t subscriber_servo;
	  std_msgs__msg__Int32 msg_servo;

	  rcl_subscription_t subscriber_Brush;
	  std_msgs__msg__Int32 msg_Brush;

	  rclc_support_t support;
	  rcl_allocator_t allocator;
	  rcl_node_t node;
	  rclc_executor_t executor;

	  allocator = rcl_get_default_allocator();

	  rcl_init_options_t init_options = rcl_get_zero_initialized_init_options();
	  rcl_init_options_init(&init_options, allocator);
	  rcl_init_options_set_domain_id(&init_options, 1);

	  // Initialize rclc support object with custom options
//	  rclc_support_t support;
	  rclc_support_init_with_options(&support, 0, NULL, &init_options, &allocator);
	  // Create init_options
//	  rclc_support_init(&support, 0, NULL, &allocator);
//	  rclc_support_init_with_options(&support, 0, NULL, &init_options, &allocator);

	  // Create node
	  rclc_node_init_default(&node, "cubemx_node", "", &support);

	  // Create subscriber
	  rclc_subscription_init_default(
	    &subscriber_L,
	    &node,
	    ROSIDL_GET_MSG_TYPE_SUPPORT(std_msgs, msg, Float32),
	    "cubemx_publisher_L");

	    rclc_subscription_init_default(
	        &subscriber_R,
	        &node,
	        ROSIDL_GET_MSG_TYPE_SUPPORT(std_msgs, msg, Float32),
	        "cubemx_publisher_R");

	    rclc_subscription_init_default(
	    	        &subscriber_servo,
	    	        &node,
	    	        ROSIDL_GET_MSG_TYPE_SUPPORT(std_msgs, msg, Int32),
	    	        "cubemx_publisher_servo");

	    rclc_subscription_init_default(
	    	    	        &subscriber_Brush,
	    	    	        &node,
	    	    	        ROSIDL_GET_MSG_TYPE_SUPPORT(std_msgs, msg, Int32),
	    	    	        "cubemx_publisher_Brush");

	  // Initialize the executor
	  rclc_executor_init(&executor, &support.context, 4, &allocator);

	  // Add the subscriber callback to the executor
	  rclc_executor_add_subscription(&executor, &subscriber_L, &msg_L, subscription_callback_L, ON_NEW_DATA);

	  rclc_executor_add_subscription(&executor, &subscriber_R, &msg_R, subscription_callback_R, ON_NEW_DATA);

	  rclc_executor_add_subscription(&executor, &subscriber_servo, &msg_servo, subscription_callback_servo, ON_NEW_DATA);

	  rclc_executor_add_subscription(&executor, &subscriber_Brush, &msg_Brush, subscription_callback_Brush, ON_NEW_DATA);

	  for(;;)
	  {
	    // Spin the executor to handle incoming messages
		static uint64_t timestamp = 0;
		if (HAL_GetTick() - timestamp > 100){
			StpperMotorControlled();
			BrusheMotorControlled();
			ServoControlled();
			timestamp = HAL_GetTick();
		}
	    rclc_executor_spin_some(&executor, RCL_MS_TO_NS(100));
	    osDelay(10);
	  }

  /* USER CODE END 5 */
}

void HAL_TIM_PeriodElapsedCallback(TIM_HandleTypeDef *htim)
{
  if (htim->Instance == TIM1) {
    HAL_IncTick();
  }
}

void Error_Handler(void)
{
  __disable_irq();
  while (1)
  {
  }
}
